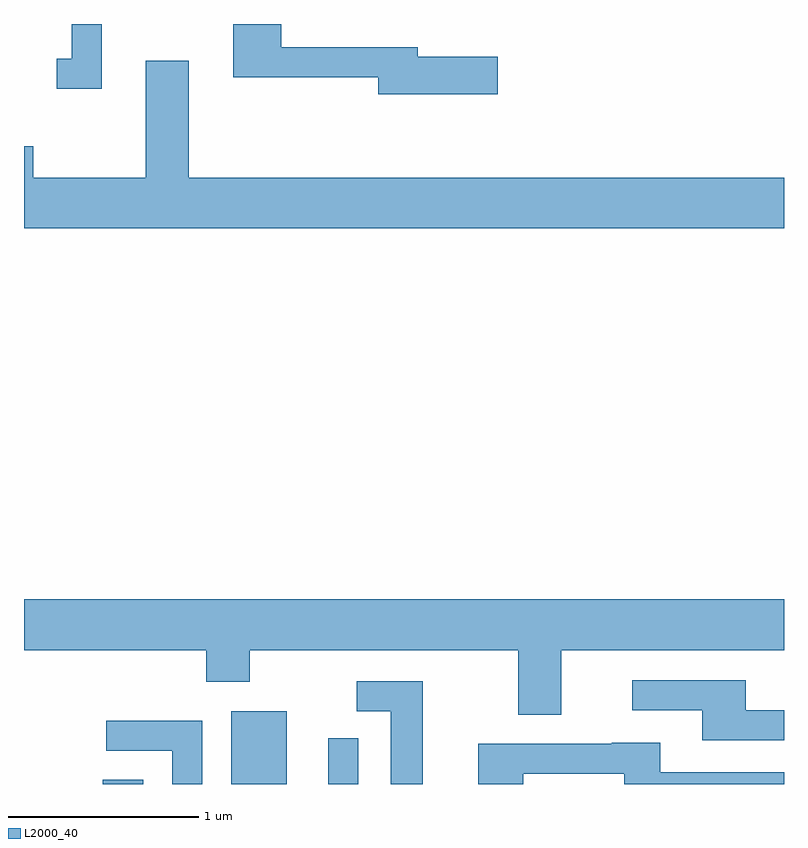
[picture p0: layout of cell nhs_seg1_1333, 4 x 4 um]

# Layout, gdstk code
import gdstk
lib = gdstk.Library(unit=1e-6, precision=1e-09)
def R(c, l, rs):  # rectangles x0, y0, x1, y1
    for r in rs: c.add(gdstk.rectangle(r[:2], r[2:], *l))
def P(c, l, *ps):  # polygons
    for p in ps: c.add(gdstk.Polygon(p, *l))
L2000_40 = (2000, 40)

nhs_seg1_1333 = lib.new_cell('nhs_seg1_1333')
R(nhs_seg1_1333, L2000_40, [(226.026,947.712,226.239,947.734), (226.701,947.712,226.994,948.094), (227.211,947.712,227.369,947.953), (225.611,951.711,225.709,951.712)])
P(nhs_seg1_1333, L2000_40, [(226.019,951.712),(225.861,951.712),(225.861,951.529),(225.783,951.529),(225.783,951.371),(226.019,951.371)],
  [(228.104,951.539),(227.684,951.539),(227.684,951.589),(226.964,951.589),(226.964,951.712),(226.711,951.712),(226.711,951.431),(227.476,951.431),(227.476,951.341),(228.104,951.341)],
  [(229.611,950.904),(226.479,950.904),(226.479,951.519),(226.251,951.519),(226.251,950.904),(225.659,950.904),(225.659,951.069),(225.611,951.069),(225.611,950.636),(229.611,950.636)],
  [(228.439,948.416),(229.611,948.416),(229.611,948.684),(225.611,948.684),(225.611,948.416),(226.571,948.416),(226.571,948.251),(226.799,948.251),(226.799,948.416),(228.211,948.416),(228.211,948.076),(228.439,948.076)],
  [(229.611,948.099),(229.409,948.099),(229.409,948.259),(228.813,948.259),(228.813,948.101),(229.181,948.101),(229.181,947.941),(229.611,947.941)],
  [(227.709,948.254),(227.363,948.254),(227.363,948.096),(227.541,948.096),(227.541,947.712),(227.709,947.712)],
  [(226.549,948.044),(226.043,948.044),(226.043,947.886),(226.391,947.886),(226.391,947.712),(226.549,947.712)],
  [(228.239,947.766),(228.771,947.766),(228.771,947.712),(229.611,947.712),(229.611,947.774),(228.959,947.774),(228.959,947.929),(228.705,947.929),(228.705,947.924),(228.001,947.924),(228.001,947.712),(228.239,947.712)])

lib.write_gds('nhs_seg1_1333.gds')
